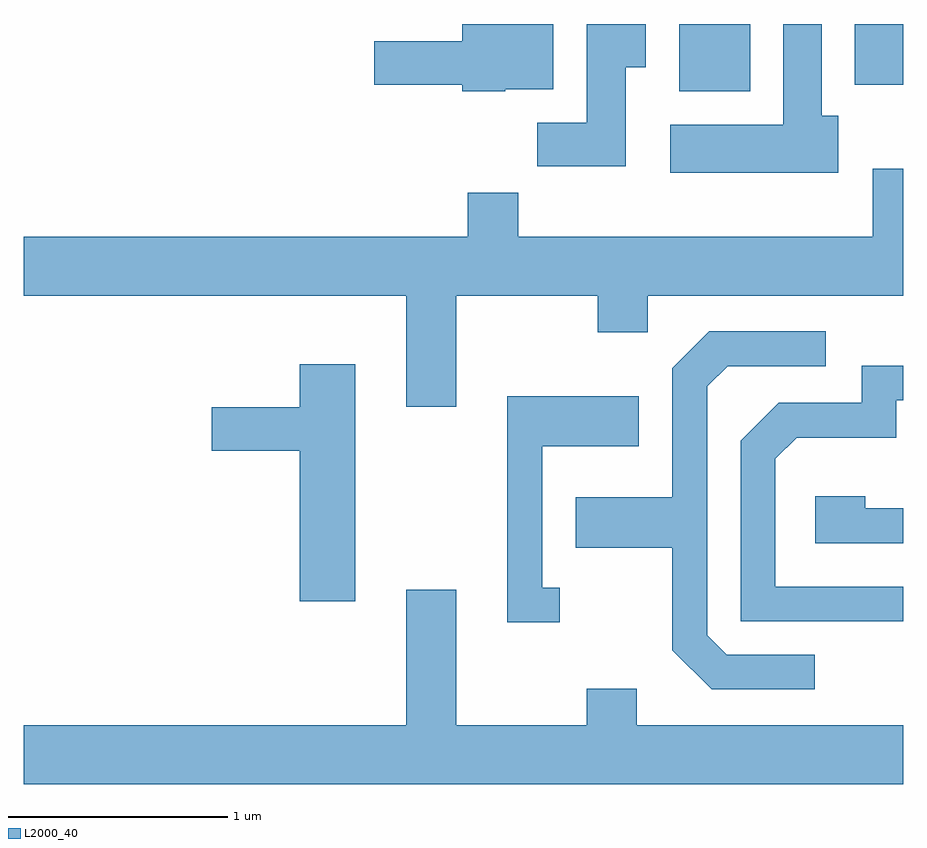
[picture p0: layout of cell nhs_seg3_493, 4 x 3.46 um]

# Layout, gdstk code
import gdstk
lib = gdstk.Library(unit=1e-6, precision=1e-09)
def R(c, l, rs):  # rectangles x0, y0, x1, y1
    for r in rs: c.add(gdstk.rectangle(r[:2], r[2:], *l))
def P(c, l, *ps):  # polygons
    for p in ps: c.add(gdstk.Polygon(p, *l))
L2000_40 = (2000, 40)

nhs_seg3_493 = lib.new_cell('nhs_seg3_493')
R(nhs_seg3_493, L2000_40, [(202.591,1153.586,202.914,1153.892), (203.391,1153.616,203.611,1153.892)])
P(nhs_seg3_493, L2000_40, [(203.314,1153.474),(203.239,1153.474),(203.239,1153.892),(203.066,1153.892),(203.066,1153.434),(202.551,1153.434),(202.551,1153.216),(203.314,1153.216)],
  [(202.349,1153.696),(202.439,1153.696),(202.439,1153.892),(202.171,1153.892),(202.171,1153.444),(201.946,1153.444),(201.946,1153.246),(202.349,1153.246)],
  [(201.8,1153.596),(202.019,1153.596),(202.019,1153.892),(201.606,1153.892),(201.606,1153.814),(201.206,1153.814),(201.206,1153.616),(201.606,1153.616),(201.606,1153.586),(201.8,1153.586)],
  [(201.579,1152.656),(202.221,1152.656),(202.221,1152.491),(202.449,1152.491),(202.449,1152.656),(203.611,1152.656),(203.611,1153.234),(203.471,1153.234),(203.471,1152.924),(201.859,1152.924),(201.859,1153.124),(201.631,1153.124),(201.631,1152.924),(199.611,1152.924),(199.611,1152.656),(201.351,1152.656),(201.351,1152.151),(201.579,1152.151)],
  [(203.208,1151.024),(202.807,1151.024),(202.719,1151.112),(202.719,1152.244),(202.812,1152.336),(203.258,1152.336),(203.258,1152.494),(202.729,1152.494),(202.561,1152.327),(202.561,1151.739),(202.121,1151.739),(202.121,1151.511),(202.561,1151.511),(202.561,1151.044),(202.739,1150.866),(203.208,1150.866)],
  [(201.119,1152.344),(200.866,1152.344),(200.866,1152.149),(200.466,1152.149),(200.466,1151.951),(200.866,1151.951),(200.866,1151.266),(201.119,1151.266)],
  [(203.611,1151.334),(203.029,1151.334),(203.029,1151.914),(203.127,1152.011),(203.579,1152.011),(203.579,1152.181),(203.611,1152.181),(203.611,1152.339),(203.421,1152.339),(203.421,1152.169),(203.044,1152.169),(202.871,1151.997),(202.871,1151.176),(203.611,1151.176)],
  [(202.048,1151.329),(201.969,1151.329),(201.969,1151.971),(202.409,1151.971),(202.409,1152.199),(201.811,1152.199),(201.811,1151.171),(202.048,1151.171)],
  [(203.611,1151.689),(203.439,1151.689),(203.439,1151.744),(203.211,1151.744),(203.211,1151.531),(203.611,1151.531)],
  [(203.611,1150.704),(202.399,1150.704),(202.399,1150.869),(202.171,1150.869),(202.171,1150.704),(201.579,1150.704),(201.579,1151.319),(201.351,1151.319),(201.351,1150.704),(199.611,1150.704),(199.611,1150.436),(203.611,1150.436)])

lib.write_gds('nhs_seg3_493.gds')
